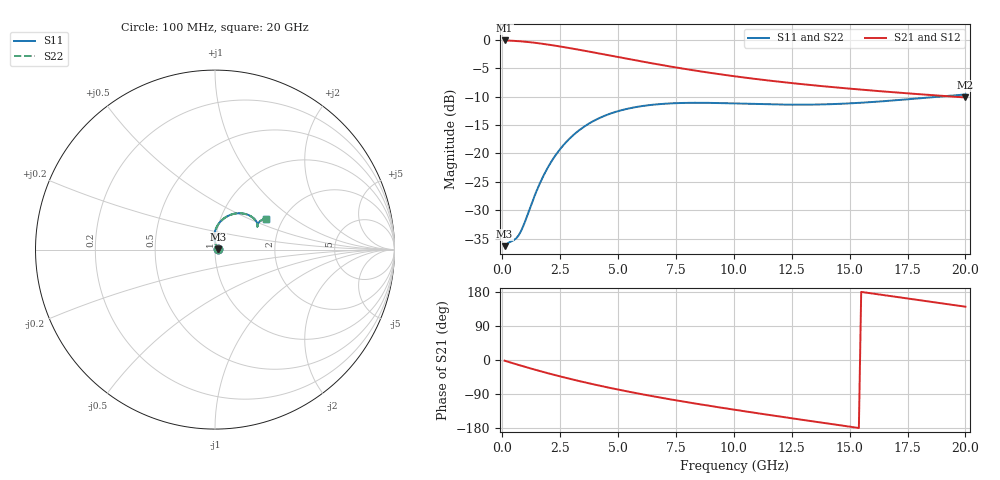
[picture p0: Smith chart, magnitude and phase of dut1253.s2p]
! Touchstone file exported from HFSS 2024.1.0
!  File:  C:/UserFiles/LocalFiles/RDL_TSV_Batchsim/temp_RDL_TSV_1253_1780270446.aedt
!  Generated:  07:51:00 AM Jun  1, 2026
!  Design:  RDL_TSV
!  Project:  temp_RDL_TSV_1253_1780270446
!  Setup:  Setup1
!  Solution:  Sweep
! Variables:
!  dtsv = 7.74um
!  hbump = 3um
!  htsv = 99.56um
!  ldown = 249.94um
!  lrdl = 543.01um
!  p = 40
!  p1 = 50.79um
!  rhole = 10um
!  subl = 2921.86um
!  t = 450um
!  tdown = 4.62um
!  trdl = 3.53um
!  viad = 10um
!  wdown = 12.79um
!  wrdl = 23.48um
!  xbump = 18um
# GHz S MA R 50.000000
! Terminal data exported
! Port[1] = TM1_1_T1
! Port[2] = TM1_4_T1
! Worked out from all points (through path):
!   200 points, 100 MHz to 20 GHz, reference 50 ohm
!   highest |S21| = -0.14 dB at 100 MHz (marker M1); lowest = -10.2 dB at 20 GHz (marker M2)
!   group delay of S21, straight-line fit = 28.7 ps
!   lowest |S11| = -36.3 dB at 100 MHz (marker M3), VSWR 1.03, Z = 51.5 + j0.267 ohm
!   |S11| at or under -10 dB: start of sweep to 18.88 GHz
!   |S22| runs from -36.3 to -9.6 dB; largest |S21 - S12| = 2.6e-14
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0.1  0.01534 9.7  0.9845 -1.9  0.9845 -1.9  0.01534 9.7
! Gamma 0 0 0 0
! Port Impedance 50 0 50 0
0.6  0.01797 46.1  0.9739 -11.2  0.9739 -11.2  0.01797 46.1
0.8  0.02064 62.9  0.9673 -14.8  0.9673 -14.8  0.02064 62.9
1.5  0.04786 92.1  0.9343 -27.1  0.9343 -27.1  0.04779 92.1
1.8  0.06503 93.5  0.9168 -32.1  0.9168 -32.1  0.06493 93.5
2.2  0.0901 91.6  0.8915 -38.6  0.8915 -38.6  0.08996 91.5
2.6  0.1159 87.6  0.8648 -44.9  0.8648 -44.9  0.1157 87.6
3  0.1411 82.8  0.8374 -50.9  0.8374 -50.9  0.1409 82.8
3.5  0.1703 76.5  0.803 -58.1  0.803 -58.1  0.17 76.5
4.2  0.2051 67.9  0.7556 -67.7  0.7556 -67.7  0.2048 67.9
4.9  0.2323 60.1  0.7102 -76.8  0.7102 -76.8  0.2319 60.1
5.8  0.2564 51.5  0.6563 -87.7  0.6563 -87.7  0.256 51.5
6.8  0.2717 43.8  0.6031 -98.9  0.6031 -98.9  0.2712 43.8
7.6  0.2773 38.9  0.5656 -107.4  0.5656 -107.4  0.2769 38.9
8.4  0.2789 35.0  0.5326 -115.5  0.5326 -115.5  0.2784 35.0
10.1  0.275 30.0  0.4749 -131.9  0.4749 -131.9  0.2745 30.0
11.7  0.2697 28.5  0.4331 -146.6  0.4331 -146.6  0.2693 28.5
13.4  0.2689 29.2  0.3981 -161.8  0.3981 -161.8  0.2685 29.2
15  0.2756 30.7  0.3714 -175.9  0.3714 -175.9  0.2753 30.8
16.7  0.2905 32.0  0.3477 169.2  0.3477 169.2  0.2902 32.1
18.4  0.3103 32.2  0.3274 154.5  0.3274 154.5  0.3101 32.2
20  0.3301 31.3  0.3107 140.7  0.3107 140.7  0.3299 31.3
